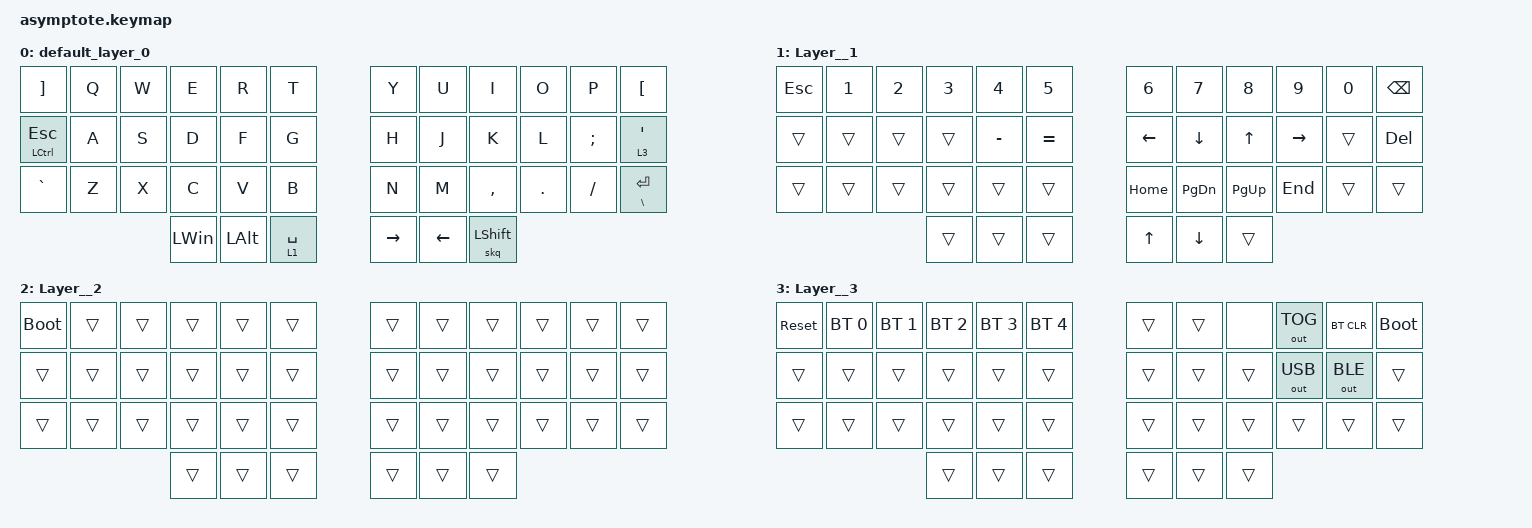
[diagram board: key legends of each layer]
/*
 * Copyright (c) 2020 The ZMK Contributors
 *
 * SPDX-License-Identifier: MIT
 */

#include <behaviors.dtsi>
#include <dt-bindings/zmk/bt.h>
#include <dt-bindings/zmk/keys.h>
#include <dt-bindings/zmk/outputs.h>

&mt {
    tapping-term-ms = <200>;
};

&lt {
    quick-tap-ms = <400>;
};

/ {
    combos {
        compatible = "zmk,combos";

        bspc {
            bindings = <&kp BACKSPACE>;
            key-positions = <19 20>;
        };

        tab {
            bindings = <&kp TAB>;
            key-positions = <15 16>;
        };
    };

    behaviors {
        hold: hold {
            compatible = "zmk,behavior-hold-tap";
            label = "HOLD";
            bindings =
                <&kp>,
                <&kp>;

            #binding-cells = <2>;
            tapping-term-ms = <150>;
            flavor = "tap-preferred";
        };
        skq: skq {
            compatible = "zmk,behavior-sticky-key";
            label = "SKQ";
            bindings = <&kp>;
            #binding-cells = <1>;
            release-after-ms = <500>;
            quick-release;
        };
    };

    keymap {
        compatible = "zmk,keymap";

        default_layer_0 {
            bindings = <
&kp RIGHT_BRACKET        &kp Q  &kp W  &kp E         &kp R     &kp T          &kp Y      &kp U     &kp I            &kp O    &kp P          &kp LEFT_BRACKET
&mt LEFT_CONTROL ESCAPE  &kp A  &kp S  &kp D         &kp F     &kp G          &kp H      &kp J     &kp K            &kp L    &kp SEMICOLON  &lt 3 SINGLE_QUOTE
&kp GRAVE                &kp Z  &kp X  &kp C         &kp V     &kp B          &kp N      &kp M     &kp COMMA        &kp DOT  &kp SLASH      &hold BACKSLASH RETURN
                                       &kp LEFT_WIN  &kp LALT  &lt 1 SPACE    &kp RIGHT  &kp LEFT  &skq LEFT_SHIFT
            >;
        };

        Layer__1 {
            bindings = <
&kp ESC  &kp N1  &kp N2  &kp N3  &kp N4     &kp N5       &kp N6    &kp N7     &kp N8     &kp N9     &kp N0  &kp BSPC
&trans   &trans  &trans  &trans  &kp MINUS  &kp EQUAL    &kp LEFT  &kp DOWN   &kp UP     &kp RIGHT  &trans  &kp DEL
&trans   &trans  &trans  &trans  &trans     &trans       &kp HOME  &kp PG_DN  &kp PG_UP  &kp END    &trans  &trans
                         &trans  &trans     &trans       &kp UP    &kp DOWN   &trans
            >;
        };

        Layer__2 {
            bindings = <
&bootloader  &trans  &trans  &trans  &trans  &trans    &trans  &trans  &trans  &trans  &trans  &trans
&trans       &trans  &trans  &trans  &trans  &trans    &trans  &trans  &trans  &trans  &trans  &trans
&trans       &trans  &trans  &trans  &trans  &trans    &trans  &trans  &trans  &trans  &trans  &trans
                             &trans  &trans  &trans    &trans  &trans  &trans
            >;
        };

        Layer__3 {
            bindings = <
&sys_reset  &bt BT_SEL 0  &bt BT_SEL 1  &bt BT_SEL 2  &bt BT_SEL 3  &bt BT_SEL 4    &trans  &trans  &none   &out OUT_TOG  &bt BT_CLR    &bootloader
&trans      &trans        &trans        &trans        &trans        &trans          &trans  &trans  &trans  &out OUT_USB  &out OUT_BLE  &trans
&trans      &trans        &trans        &trans        &trans        &trans          &trans  &trans  &trans  &trans        &trans        &trans
                                        &trans        &trans        &trans          &trans  &trans  &trans
            >;
        };
    };
};
